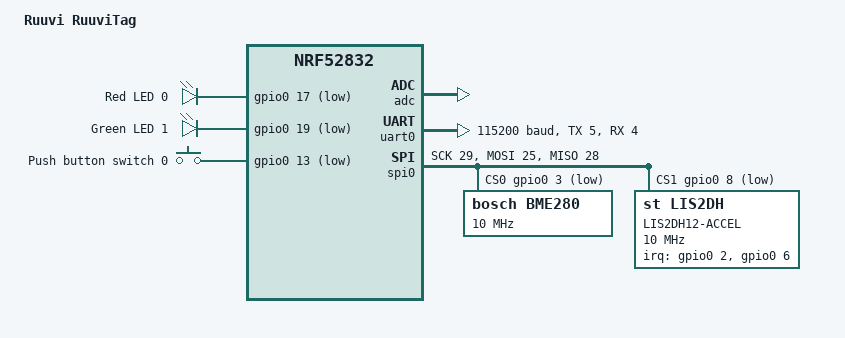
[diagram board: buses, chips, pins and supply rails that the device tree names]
/*
 * Copyright (c) 2020 Ruuvi Innovations Ltd (Oy)
 *
 * SPDX-License-Identifier: Apache-2.0
 */

/dts-v1/;
#include <nordic/nrf52832_qfaa.dtsi>

/ {
	model = "Ruuvi RuuviTag";
	compatible = "ruuvi,ruuvitag";

	chosen {
		zephyr,console = &uart0;
		zephyr,shell-uart = &uart0;
		zephyr,uart-mcumgr = &uart0;
		zephyr,bt-mon-uart = &uart0;
		zephyr,bt-c2h-uart = &uart0;
		zephyr,sram = &sram0;
		zephyr,flash = &flash0;
		zephyr,code-partition = &slot0_partition;
	};

	/* These aliases are provided for compatibility with samples */
	aliases {
		led0 = &led0;
		led1 = &led1;
		sw0 = &button0;
	};

	leds {
		compatible = "gpio-leds";
		led0: led_0 {
			gpios = <&gpio0 17 GPIO_ACTIVE_LOW>;
			label = "Red LED 0";
		};
		led1: led_1 {
			gpios = <&gpio0 19 GPIO_ACTIVE_LOW>;
			label = "Green LED 1";
		};
	};

	buttons {
		compatible = "gpio-keys";
		button0: button_0 {
			gpios = <&gpio0 13 (GPIO_PULL_UP | GPIO_ACTIVE_LOW)>;
			label = "Push button switch 0";
		};
	};
};

&adc {
	status = "okay";
};

&gpiote {
	status = "okay";
};

&gpio0 {
	status = "okay";
};

&uart0 {
	status = "okay";
	compatible = "nordic,nrf-uart";
	current-speed = <115200>;
	tx-pin = <5>;
	rx-pin = <4>;
	cts-pin = <31>;
	rts-pin = <30>;
};

&spi0 {
	compatible = "nordic,nrf-spi";
	status = "okay";
	sck-pin = <29>;
	mosi-pin = <25>;
	miso-pin = <28>;
	cs-gpios = <&gpio0 3 GPIO_ACTIVE_LOW>, <&gpio0 8 GPIO_ACTIVE_LOW>;

	bme280@0 {
		compatible = "bosch,bme280";
		reg = <0>;
		spi-max-frequency = <10000000>;
		label= "BME280";
	};

	lis2dh12: lis2dh12@1 {
		compatible = "st,lis2dh", "st,lis2dh12";
		reg = <1>;
		spi-max-frequency = <10000000>;
		irq-gpios =  <&gpio0 2 GPIO_ACTIVE_HIGH>, <&gpio0 6 GPIO_ACTIVE_HIGH>;
		label = "LIS2DH12-ACCEL";
	};
};


&flash0 {
	/*
	 * For more information, see:
	 * https://docs.zephyrproject.org/latest/guides/dts/legacy-macros.html#legacy-flash-partitions
	 */
	partitions {
		compatible = "fixed-partitions";
		#address-cells = <1>;
		#size-cells = <1>;

		boot_partition: partition@0 {
			label = "mcuboot";
			reg = <0x00000000 0xc000>;
		};
		slot0_partition: partition@c000 {
			label = "image-0";
			reg = <0x0000C000 0x32000>;
		};
		slot1_partition: partition@3e000 {
			label = "image-1";
			reg = <0x0003E000 0x32000>;
		};
		scratch_partition: partition@70000 {
			label = "image-scratch";
			reg = <0x00070000 0xa000>;
		};

		/*
		 * The flash starting at 0x0007a000 and ending at
		 * 0x0007ffff (sectors 122-127) is reserved for use
		 * by the application.
		 * Storage partition will be used by FCB/LittleFS/NVS
		 * if enabled.
		 */
		storage_partition: partition@7a000 {
			label = "storage";
			reg = <0x0007a000 0x00006000>;
		};
	};
};
